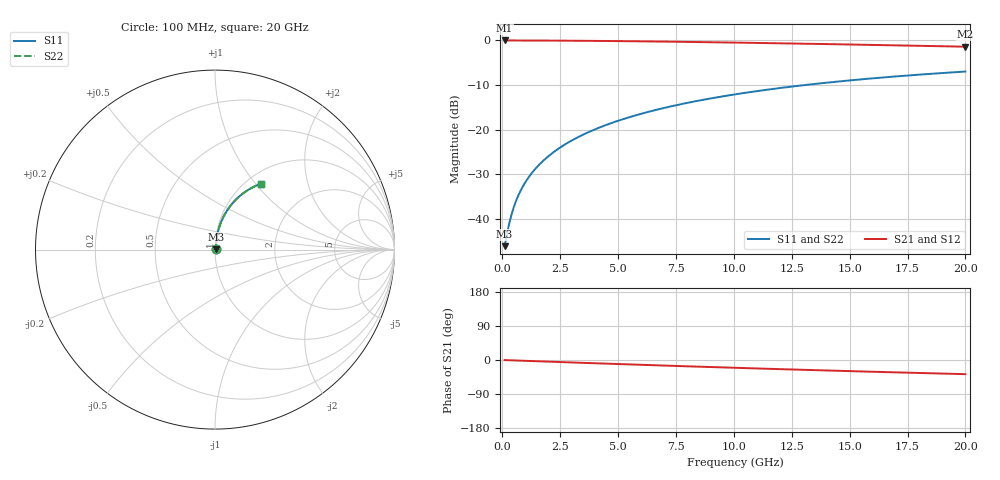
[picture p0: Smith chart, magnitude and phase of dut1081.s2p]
! Touchstone file exported from HFSS 2024.1.0
!  File:  C:/UserFiles/LocalFiles/RDL_TSV_Batchsim/temp_RDL_top_1081_1780045569.aedt
!  Generated:  05:08:20 PM May 29, 2026
!  Design:  RDL_top
!  Project:  temp_RDL_top_1081_1780045569
!  Setup:  Setup1
!  Solution:  Sweep
! Variables:
!  dtsv = 10.80580581um
!  hbump = 3um
!  htsv = 52.49um
!  ldown = 100um
!  lrdl = 444.12um
!  p = 40
!  p1 = 53.73um
!  rhole = 1um
!  t = 450um
!  tdown = 3.915915916um
!  trdl = 2.99um
!  wdown = 15.38538539um
!  wrdl = 12.79um
# GHz S MA R 50.000000
! Terminal data exported
! Port[1] = Box2_T1
! Port[2] = Box2_T2
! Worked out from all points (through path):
!   200 points, 100 MHz to 20 GHz, reference 50 ohm
!   highest |S21| = -0.04 dB at 100 MHz (marker M1); lowest = -1.4 dB at 20 GHz (marker M2)
!   group delay of S21, straight-line fit = 5.19 ps
!   lowest |S11| = -46.1 dB at 100 MHz (marker M3), VSWR 1.01, Z = 50.4 + j0.263 ohm
!   |S11| at or under -10 dB: start of sweep to 13.1 GHz
!   |S22| runs from -46.1 to -7.0 dB; largest |S21 - S12| = 3.3e-15
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0.1  0.004966 31.7  0.9958 -0.2  0.9958 -0.2  0.004966 31.7
! Gamma 0 0 0 0
! Port Impedance 50 0 50 0
0.2  0.006743 50.5  0.9957 -0.4  0.9957 -0.4  0.006743 50.5
0.3  0.00893 60.6  0.9956 -0.7  0.9956 -0.7  0.00893 60.6
0.4  0.01127 66.4  0.9955 -0.9  0.9955 -0.9  0.01127 66.4
0.5  0.01368 70.1  0.9954 -1.1  0.9954 -1.1  0.01368 70.1
0.6  0.01611 72.7  0.9952 -1.3  0.9952 -1.3  0.01611 72.7
0.8  0.021 75.9  0.9949 -1.8  0.9949 -1.8  0.021 75.9
1.1  0.02838 78.5  0.9944 -2.4  0.9944 -2.4  0.02838 78.5
1.5  0.03827 80.3  0.9937 -3.3  0.9937 -3.3  0.03827 80.3
1.8  0.04571 80.9  0.993 -3.9  0.993 -3.9  0.04571 80.9
2.1  0.05318 81.3  0.9922 -4.6  0.9922 -4.6  0.05318 81.3
2.7  0.06815 81.4  0.9903 -5.8  0.9903 -5.8  0.06815 81.4
3.5  0.08817 81.0  0.9873 -7.5  0.9873 -7.5  0.08816 81.0
4.2  0.1057 80.3  0.984 -9.0  0.984 -9.0  0.1057 80.3
5  0.1257 79.4  0.9798 -10.7  0.9798 -10.7  0.1257 79.4
5.9  0.1481 78.1  0.9743 -12.5  0.9743 -12.5  0.1481 78.1
6.8  0.1703 76.8  0.9683 -14.3  0.9683 -14.3  0.1703 76.7
8.3  0.2068 74.3  0.9572 -17.3  0.9572 -17.3  0.2068 74.3
10.1  0.2494 71.3  0.9425 -20.7  0.9425 -20.7  0.2494 71.3
13.4  0.3227 65.7  0.9127 -26.6  0.9127 -26.6  0.3226 65.7
16.7  0.3887 60.3  0.8808 -32.2  0.8808 -32.2  0.3886 60.3
20  0.447 55.2  0.8481 -37.4  0.8481 -37.4  0.4469 55.2
